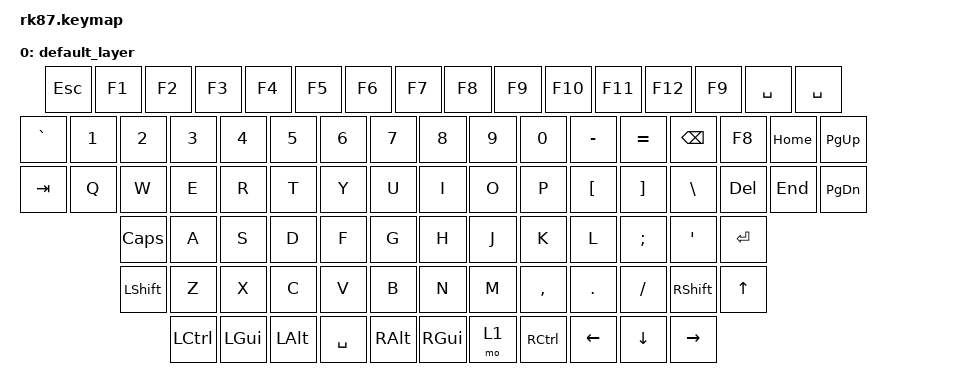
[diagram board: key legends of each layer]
/*
 * Copyright (c) 2021 Nick Winans
 *
 * SPDX-License-Identifier: MIT
 */

#include <behaviors.dtsi>
#include <dt-bindings/zmk/keys.h>
#include <dt-bindings/zmk/rgb.h>
#include <dt-bindings/zmk/bt.h>

/ {
	keymap {
		compatible = "zmk,keymap";
		
		default_layer {
// ------------------------------------------------------------------------------------------
// | ESC | F1  | F2  | F3  | F4  | F5  | F6  | F7  | F8  | F9  |  F10  |  F11  |    F12     |   PRNT  | SCRL | PAUSE | 
// | ~   |  1  |  2  |  3  |  4  |  5  |  6  |  7  |  8  |  9  |  0  |  -  |  =  |   BKSP   |   IN    | HOME | PG_UP |
// | TAB  |  Q  |  W  |  E  |  R  |  T  |  Y  |  U  |  I  |  O  |  P  |  [  |  ]  |   "|"   |  DELETE | END  | PG_DN |
// | CAPS  |  A  |  S  |  D  |  F  |  G  |  H  |  J  |  K  |  L  |  ;  |  '  |     ENTER    |            
// |  SHIFT  |  Z  |  X  |  C  |  V  |  B  |  N  |  M  |  ,  |  .  |  /  |      SHIFT       |            UP  |  
// |  CTL  |  WIN  |  ALT  |            SPACE              |  ALT  |  WIN  |  MO(1) |  CTL  |  LEFT   | DOWN | RIGHT |
// ------------------------------------------------------------------------------------------
			bindings = <
	&kp ESC  &kp F1 &kp F2 &kp F3 &kp F4 &kp F5 &kp F6  &kp F7 &kp F8 &kp F9 &kp F10 &kp F11 &kp F12  		&kp F9  &kp SPACE &kp SPACE 
	&kp GRAVE &kp N1 &kp N2 &kp N3 &kp N4 &kp N5 &kp N6 &kp N7 &kp N8 &kp N9 &kp N0 &kp MINUS &kp EQUAL  &kp BSPC  &kp F8 &kp HOME &kp PG_UP 
	&kp TAB  &kp Q  &kp W  &kp E  &kp R  &kp T  &kp Y  &kp U  &kp I  &kp O  &kp P  &kp LBKT  &kp RIGHT_BRACKET  &kp BSLH    &kp DEL &kp END &kp PG_DN
	&kp CLCK  &kp A  &kp S  &kp D  &kp F  &kp G  &kp H  &kp J  &kp K  &kp L  &kp SEMI &kp SQT           &kp RET   
	&kp LSHFT   &kp Z  &kp X  &kp C  &kp V  &kp B  &kp N  &kp M  &kp COMMA &kp DOT &kp FSLH           &kp RSHFT           &kp UP
	&kp LCTRL &kp LGUI &kp LALT             &kp SPACE                     &kp RALT  &kp RGUI  &mo 1   &kp RCTRL     &kp LEFT &kp DOWN &kp RIGHT
			>;
		};

	};
};
